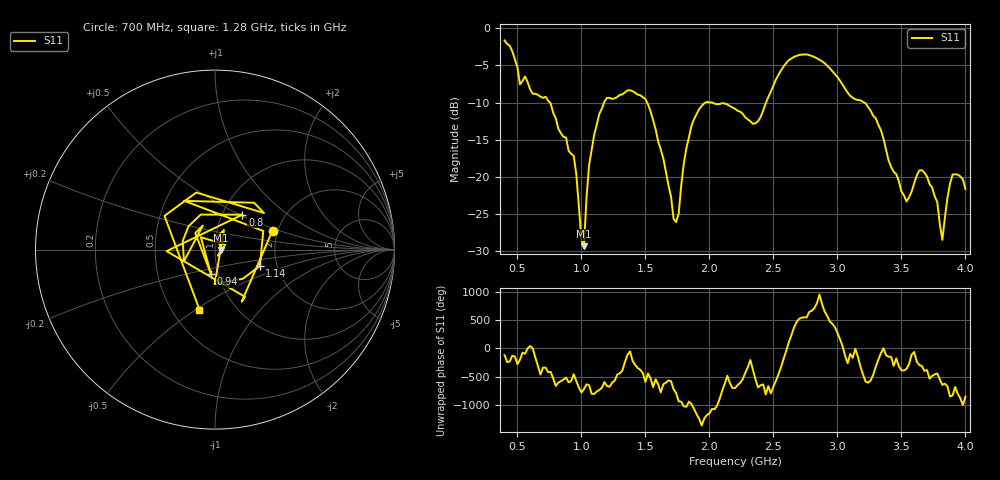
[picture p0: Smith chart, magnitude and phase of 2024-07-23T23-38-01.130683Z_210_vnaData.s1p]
!Created with skrf (http://scikit-rf.org).
# Hz S RI R 50.0
!freq ReS11 ImS11
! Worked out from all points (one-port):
!   181 points, 400 MHz to 4 GHz, reference 50 ohm
!   lowest |S11| = -29.3 dB at 1.02 GHz (marker M1), VSWR 1.07, Z = 53.5 - j0.239 ohm
!   |S11| at or under -10 dB: 754.1 MHz to 1.177 GHz (423 MHz wide, 43.8 % of centre); 1.514 GHz to 1.97 GHz (456.1 MHz wide, 26.2 % of centre); 3.211 GHz to end of sweep (the widest 3 of 4)
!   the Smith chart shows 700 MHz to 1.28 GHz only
!   S11 on the Smith chart (normalised r, x): 700 MHz: 1.89, +0.44; 800 MHz: 1.24, +0.51; 940 MHz: 0.92, -0.26; 1.14 GHz: 1.63, -0.32; 1.28 GHz: 0.68, -0.52
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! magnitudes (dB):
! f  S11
! 400 MHz  -1.6
! 520 MHz  -7.5
! 700 MHz  -9.4
! 800 MHz  -12.1
! 860 MHz  -14.6
! 940 MHz  -17.2
! 1.02 GHz  -29.3
! 1.06 GHz  -18.4
! 1.14 GHz  -11.5
! 1.28 GHz  -9.2
! 1.3 GHz  -9.0
! 1.5 GHz  -9.5
! 1.64 GHz  -17.5
! 1.72 GHz  -25.6
! 1.76 GHz  -24.9
! 1.82 GHz  -16.1
! 1.92 GHz  -10.9
! 2.2 GHz  -10.8
! 2.38 GHz  -12.5
! 2.66 GHz  -3.9
! 3.1 GHz  -9.1
! 3.3 GHz  -12.1
! 3.56 GHz  -22.7
! 3.68 GHz  -19.4
! 3.78 GHz  -23.4
! 3.82 GHz  -28.5
! 3.9 GHz  -19.7
! 4 GHz  -21.6
